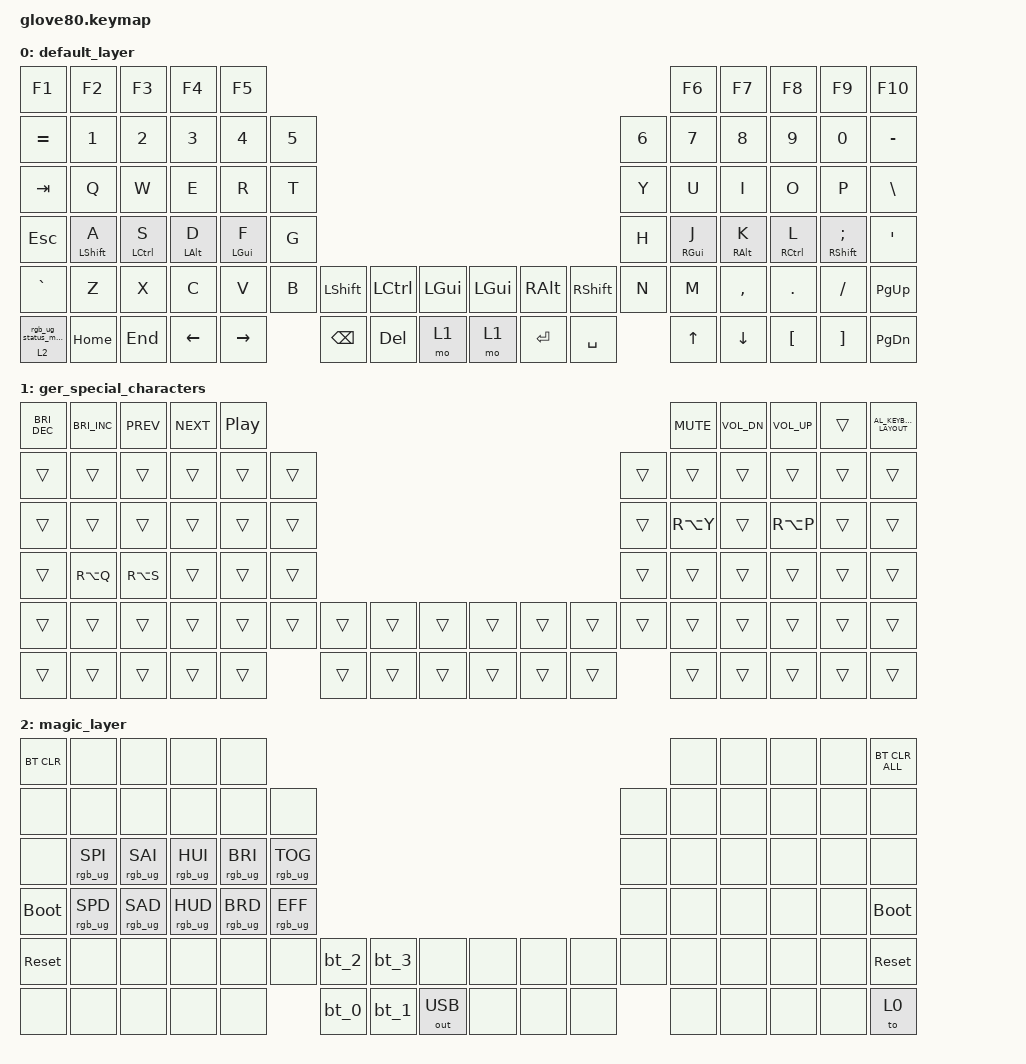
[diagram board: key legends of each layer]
/*
 * Copyright (c) 2020 The ZMK Contributors
 *
 * SPDX-License-Identifier: MIT
 */

#include <behaviors.dtsi>
#include <dt-bindings/zmk/bt.h>
#include <dt-bindings/zmk/keys.h>
#include <dt-bindings/zmk/outputs.h>
#include <dt-bindings/zmk/rgb.h>

#define HYPER LC(LS(LG(LALT)))

// layers

#define DEFAULT 0
#define LOWER 1
#define MAGIC 2
#define FACTORY_TEST 3

/*
 * Key positions based on your default_layer binding order.
 *
 * Home-row mod positions:
 *
 * A = 35
 * S = 36
 * D = 37
 * F = 38
 *
 * J = 41
 * K = 42
 * L = 43
 * ; = 44
 *
 * Same-hand home-row mod combinations are intentionally blocked.
 *
 * Examples:
 * D then F       -> df
 * F then D       -> fd
 * J then K       -> jk
 * K then L       -> kl
 *
 * Cross-hand combinations still work.
 *
 * Examples:
 * K hold + F tap -> Right Alt + F
 * D hold + K tap -> Left Alt + K
 */

#define LEFT_HAND_HRM_TRIGGER_POSITIONS \
    40 41 42 43 44 45 \
    55 56 57 58 59 60 61 62 63 \
    72 73 74 75 76 77 78 79

#define RIGHT_HAND_HRM_TRIGGER_POSITIONS \
    34 35 36 37 38 39 \
    46 47 48 49 50 51 52 53 54 \
    64 65 66 67 68 69 70 71

/ {
    behaviors {
        hml: homerow_mod_left {
            compatible = "zmk,behavior-hold-tap";
            label = "HOMEROW_MOD_LEFT";
            #binding-cells = <2>;

            flavor = "tap-preferred";
            tapping-term-ms = <220>;
            quick-tap-ms = <175>;
            require-prior-idle-ms = <150>;

            bindings = <&kp>, <&kp>;

            /*
             * Left-hand home-row mods A/S/D/F only become holds
             * when paired with right-hand keys.
             */
            hold-trigger-key-positions = <LEFT_HAND_HRM_TRIGGER_POSITIONS>;
        };

        hmr: homerow_mod_right {
            compatible = "zmk,behavior-hold-tap";
            label = "HOMEROW_MOD_RIGHT";
            #binding-cells = <2>;

            flavor = "tap-preferred";
            tapping-term-ms = <220>;
            quick-tap-ms = <175>;
            require-prior-idle-ms = <150>;

            bindings = <&kp>, <&kp>;

            /*
             * Right-hand home-row mods J/K/L/; only become holds
             * when paired with left-hand keys.
             */
            hold-trigger-key-positions = <RIGHT_HAND_HRM_TRIGGER_POSITIONS>;
        };

        // For the "layer" key, it is nice to be able to use it as either a momentary layer or a toggle.
        // First tap/hold is &mo, second tap is &to.
        layer_td: tap_dance_0 {
            compatible = "zmk,behavior-tap-dance";
            label = "LAYER_TAP_DANCE";
            #binding-cells = <0>;
            tapping-term-ms = <400>;
            bindings = <&mo 0>, <&to 0>;
        };

        magic: magic_hold_tap {
            compatible = "zmk,behavior-hold-tap";
            label = "MAGIC_HOLD_TAP";
            #binding-cells = <2>;
            flavor = "tap-preferred";
            tapping-term-ms = <400>;
            bindings = <&mo>, <&rgb_ug_status_macro>;
        };
    };

    macros {
        rgb_ug_status_macro: rgb_ug_status_macro_0 {
            label = "RGB_UG_STATUS";
            compatible = "zmk,behavior-macro";
            #binding-cells = <0>;
            bindings = <&rgb_ug RGB_STATUS>;
        };

        bt_0: bt_profile_macro_0 {
            label = "BT_0";
            compatible = "zmk,behavior-macro";
            #binding-cells = <0>;
            bindings = <&out OUT_BLE &bt BT_SEL 0>;
        };

        bt_1: bt_profile_macro_1 {
            label = "BT_1";
            compatible = "zmk,behavior-macro";
            #binding-cells = <0>;
            bindings = <&out OUT_BLE &bt BT_SEL 1>;
        };

        bt_2: bt_profile_macro_2 {
            label = "BT_2";
            compatible = "zmk,behavior-macro";
            #binding-cells = <0>;
            bindings = <&out OUT_BLE &bt BT_SEL 2>;
        };

        bt_3: bt_profile_macro_3 {
            label = "BT_3";
            compatible = "zmk,behavior-macro";
            #binding-cells = <0>;
            bindings = <&out OUT_BLE &bt BT_SEL 3>;
        };
    };

    keymap {
        compatible = "zmk,keymap";

        default_layer {
            bindings = <
&kp F1      &kp F2            &kp F3       &kp F4          &kp F5                                                                                              &kp F6           &kp F7           &kp F8       &kp F9                &kp F10
&kp EQUAL   &kp N1            &kp N2       &kp N3          &kp N4          &kp N5                                                                      &kp N6  &kp N7           &kp N8           &kp N9       &kp N0                &kp MINUS
&kp TAB     &kp Q             &kp W        &kp E           &kp R           &kp T                                                                       &kp Y   &kp U            &kp I            &kp O        &kp P                 &kp BSLH
&kp ESC     &hml LEFT_SHIFT A &hml LCTRL S &hml LEFT_ALT D &hml LEFT_GUI F &kp G                                                                       &kp H   &hmr RIGHT_GUI J &hmr RIGHT_ALT K &hmr RCTRL L &hmr RIGHT_SHIFT SEMI &kp SQT
&kp GRAVE   &kp Z             &kp X        &kp C           &kp V           &kp B   &kp LSHFT  &kp LCTRL  &kp LGUI  &kp LGUI  &kp RIGHT_ALT  &kp RSHFT  &kp N   &kp M            &kp COMMA        &kp DOT      &kp FSLH              &kp PG_UP
&magic 2 0  &kp HOME          &kp END      &kp LEFT        &kp RIGHT               &kp BSPC   &kp DEL    &mo 1     &mo 1     &kp RET        &kp SPACE          &kp UP           &kp DOWN         &kp LBKT     &kp RBKT              &kp PG_DN
            >;
        };

        ger_special_characters {
            bindings = <
&kp C_BRIGHTNESS_DEC  &kp C_BRIGHTNESS_INC  &kp C_PREV  &kp C_NEXT  &kp C_PP                                                                  &kp C_MUTE  &kp C_VOL_DN  &kp C_VOL_UP  &trans  &kp C_AL_KEYBOARD_LAYOUT
&trans                &trans                &trans      &trans      &trans    &trans                                                  &trans  &trans      &trans        &trans        &trans  &trans
&trans                &trans                &trans      &trans      &trans    &trans                                                  &trans  &kp RA(Y)   &trans        &kp RA(P)     &trans  &trans
&trans                &kp RA(Q)             &kp RA(S)   &trans      &trans    &trans                                                  &trans  &trans      &trans        &trans        &trans  &trans
&trans                &trans                &trans      &trans      &trans    &trans  &trans  &trans  &trans  &trans  &trans  &trans  &trans  &trans      &trans        &trans        &trans  &trans
&trans                &trans                &trans      &trans      &trans            &trans  &trans  &trans  &trans  &trans  &trans          &trans      &trans        &trans        &trans  &trans
            >;
        };

        magic_layer {
            bindings = <
&bt BT_CLR   &none            &none            &none            &none                                                                                     &none  &none  &none  &none  &bt BT_CLR_ALL
&none        &none            &none            &none            &none            &none                                                             &none  &none  &none  &none  &none  &none
&none        &rgb_ug RGB_SPI  &rgb_ug RGB_SAI  &rgb_ug RGB_HUI  &rgb_ug RGB_BRI  &rgb_ug RGB_TOG                                                   &none  &none  &none  &none  &none  &none
&bootloader  &rgb_ug RGB_SPD  &rgb_ug RGB_SAD  &rgb_ug RGB_HUD  &rgb_ug RGB_BRD  &rgb_ug RGB_EFF                                                   &none  &none  &none  &none  &none  &bootloader
&sys_reset   &none            &none            &none            &none            &none            &bt_2  &bt_3  &none         &none  &none  &none  &none  &none  &none  &none  &none  &sys_reset
&none        &none            &none            &none            &none                             &bt_0  &bt_1  &out OUT_USB  &none  &none  &none         &none  &none  &none  &none  &to 0
            >;
        };
    };
};
